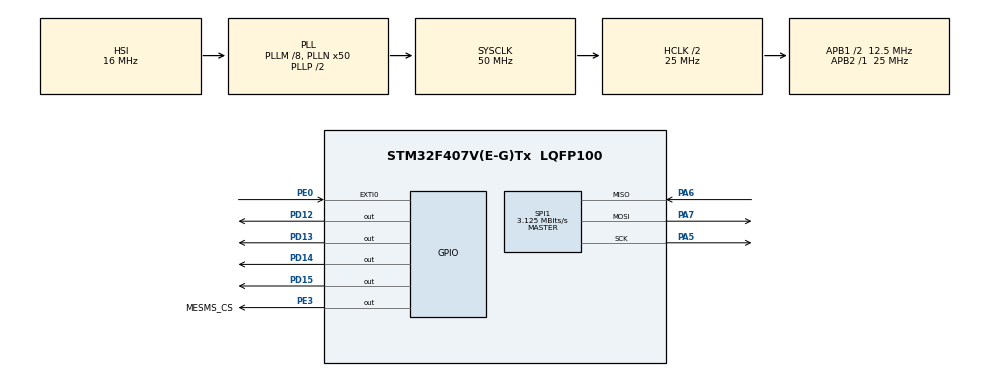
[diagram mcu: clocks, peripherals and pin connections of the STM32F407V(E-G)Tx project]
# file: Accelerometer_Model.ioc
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Mcu.Family=STM32F4
Mcu.Name=STM32F407V(E-G)Tx
Mcu.Package=LQFP100
NVIC.EXTI0_IRQn=true\:0\:0\:false\:false\:true\:true\:true\:true
NVIC.PriorityGroup=NVIC_PRIORITYGROUP_4
PA5.Mode=Full_Duplex_Master
PA5.Signal=SPI1_SCK
PA6.Mode=Full_Duplex_Master
PA6.Signal=SPI1_MISO
PA7.Mode=Full_Duplex_Master
PA7.Signal=SPI1_MOSI
PD12.Signal=GPIO_Output
PD13.Signal=GPIO_Output
PD14.Signal=GPIO_Output
PD15.Signal=GPIO_Output
PE0.Signal=GPXTI0
PE3.GPIO_Label=MESMS_CS
PE3.Signal=GPIO_Output
ProjectManager.HeapSize=0x800
ProjectManager.StackSize=0x800
ProjectManager.TargetToolchain=STM32CubeIDE
RCC.48MHZClocksFreq_Value=25000000
RCC.AHBCLKDivider=RCC_SYSCLK_DIV2
RCC.AHBFreq_Value=25000000
RCC.APB1CLKDivider=RCC_HCLK_DIV2
RCC.APB1Freq_Value=12500000
RCC.APB1TimFreq_Value=25000000
RCC.APB2Freq_Value=25000000
RCC.APB2TimFreq_Value=25000000
RCC.CortexFreq_Value=25000000
RCC.HCLKFreq_Value=25000000
RCC.HSE_VALUE=25000000
RCC.HSI_VALUE=16000000
RCC.LSE_VALUE=32768
RCC.PLLM=8
RCC.PLLN=50
RCC.SYSCLKFreq_VALUE=50000000
RCC.SYSCLKSource=RCC_SYSCLKSOURCE_PLLCLK
RCC.VCOOutputFreq_Value=100000000
SPI1.BaudRatePrescaler=SPI_BAUDRATEPRESCALER_8
SPI1.CalculateBaudRate=3.125 MBits/s
SPI1.Direction=SPI_DIRECTION_2LINES
SPI1.Mode=SPI_MODE_MASTER
SPI1.VirtualType=VM_MASTER
STMicroelectronics.X-CUBE-AI.9.1.0.ActivationBufferSizeList=768
STMicroelectronics.X-CUBE-AI.9.1.0.ActivationBuffers=pool0
STMicroelectronics.X-CUBE-AI.9.1.0.ActivationNames=pool0
STMicroelectronics.X-CUBE-AI.9.1.0.ActivationSizes=AI_ACCELEROMETER_MODEL_DATA_ACTIVATION_1_SIZE
STMicroelectronics.X-CUBE-AI.9.1.0.HeapSize=0x800
STMicroelectronics.X-CUBE-AI.9.1.0.InternalRamActivationBufferMaxSize=AI_ACCELEROMETER_MODEL_DATA_ACTIVATIONS_SIZE
STMicroelectronics.X-CUBE-AI.9.1.0.LatestDirectoryUsed-c38bf62ea20753c83a9b7692821cff98aa24bf481d97bc8439786bb09fe9a0ef=C\:\\Users\\DeLL\\Desktop
STMicroelectronics.X-CUBE-AI.9.1.0.MaximumNumberOfInputLayer=1
STMicroelectronics.X-CUBE-AI.9.1.0.MaximumNumberOfOutputLayer=1
STMicroelectronics.X-CUBE-AI.9.1.0.MaximumSizeOfInputLayer=1
STMicroelectronics.X-CUBE-AI.9.1.0.MaximumSizeOfOutputLayer=1
STMicroelectronics.X-CUBE-AI.9.1.0.ModelActualCompression-c38bf62ea20753c83a9b7692821cff98aa24bf481d97bc8439786bb09fe9a0ef=0.0
STMicroelectronics.X-CUBE-AI.9.1.0.ModelCompression-c38bf62ea20753c83a9b7692821cff98aa24bf481d97bc8439786bb09fe9a0ef=None
STMicroelectronics.X-CUBE-AI.9.1.0.ModelFlashOccupation-c38bf62ea20753c83a9b7692821cff98aa24bf481d97bc8439786bb09fe9a0ef=36372
STMicroelectronics.X-CUBE-AI.9.1.0.ModelHashList=c38bf62ea20753c83a9b7692821cff98aa24bf481d97bc8439786bb09fe9a0ef
STMicroelectronics.X-CUBE-AI.9.1.0.ModelKind-c38bf62ea20753c83a9b7692821cff98aa24bf481d97bc8439786bb09fe9a0ef=TFLITE
STMicroelectronics.X-CUBE-AI.9.1.0.ModelMacc-c38bf62ea20753c83a9b7692821cff98aa24bf481d97bc8439786bb09fe9a0ef=9360
STMicroelectronics.X-CUBE-AI.9.1.0.ModelName-c38bf62ea20753c83a9b7692821cff98aa24bf481d97bc8439786bb09fe9a0ef=accelerometer_model
STMicroelectronics.X-CUBE-AI.9.1.0.ModelNameList=accelerometer_model
STMicroelectronics.X-CUBE-AI.9.1.0.ModelRamOccupation-c38bf62ea20753c83a9b7692821cff98aa24bf481d97bc8439786bb09fe9a0ef=768
STMicroelectronics.X-CUBE-AI.9.1.0.ModelStructureFile-c38bf62ea20753c83a9b7692821cff98aa24bf481d97bc8439786bb09fe9a0ef=C\:\\Users\\DeLL\\Desktop\\Accelerometer.tflite
STMicroelectronics.X-CUBE-AI.9.1.0.ModelType-c38bf62ea20753c83a9b7692821cff98aa24bf481d97bc8439786bb09fe9a0ef=STM32Cube.AI MCU runtime
STMicroelectronics.X-CUBE-AI.9.1.0.ReadyForCodeGeneration=true
STMicroelectronics.X-CUBE-AI.9.1.0.StackSize=0x800
STMicroelectronics.X-CUBE-AI.9.1.0.WorkingBufferStartAddrList=0xFFFFFFFF
STMicroelectronics.X-CUBE-AI.9.1.0.XAaCUBEAaAICcArtificialOoIntelligenceJjCore=true
STMicroelectronics.X-CUBE-AI.9.1.0.copyWeightToRam=false
STMicroelectronics.X-CUBE-AI.9.1.0.copyWeightToRam-c38bf62ea20753c83a9b7692821cff98aa24bf481d97bc8439786bb09fe9a0ef=false
STMicroelectronics.X-CUBE-AI.9.1.0.customLayerConfigEnabled=false
STMicroelectronics.X-CUBE-AI.9.1.0.customLayerConfigEnabled-c38bf62ea20753c83a9b7692821cff98aa24bf481d97bc8439786bb09fe9a0ef=false
STMicroelectronics.X-CUBE-AI.9.1.0.noOnnxIoTranspose=false
STMicroelectronics.X-CUBE-AI.9.1.0.noOnnxIoTranspose-c38bf62ea20753c83a9b7692821cff98aa24bf481d97bc8439786bb09fe9a0ef=false
STMicroelectronics.X-CUBE-AI.9.1.0.useInputAllocation=true
STMicroelectronics.X-CUBE-AI.9.1.0.useInputAllocation-c38bf62ea20753c83a9b7692821cff98aa24bf481d97bc8439786bb09fe9a0ef=true
STMicroelectronics.X-CUBE-AI.9.1.0.useOutputAllocation=true
STMicroelectronics.X-CUBE-AI.9.1.0.useOutputAllocation-c38bf62ea20753c83a9b7692821cff98aa24bf481d97bc8439786bb09fe9a0ef=true
TIM14.Period=65535 -1 
TIM14.Prescaler=80-1
VP_STMicroelectronics.X-CUBE-AI_VS_ArtificialOoIntelligenceJjXAaCUBEAaAI_9.1.0.Mode=ArtificialOoIntelligenceJjXAaCUBEAaAI
VP_TIM14_VS_ClockSourceINT.Mode=Enable_Timer
board=custom

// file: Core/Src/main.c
/* USER CODE BEGIN Header */
/**
  ******************************************************************************
  * @file           : main.c
  * @brief          : Main program body
  ******************************************************************************
  * @attention
  *
  * Copyright (c) 2024 STMicroelectronics.
  * All rights reserved.
  *
  * This software is licensed under terms that can be found in the LICENSE file
  * in the root directory of this software component.
  * If no LICENSE file comes with this software, it is provided AS-IS.
  *
  ******************************************************************************
  */
/* USER CODE END Header */
#include "main.h"

/* USER CODE BEGIN Includes */
#include "ai_datatypes_defines.h"
#include "ai_platform.h"
#include "accelerometer_model.h"
#include "accelerometer_model_data.h"
#include "MY_LIS3DSH.h"
#include <stdio.h>
#include <string.h>
/* USER CODE END Includes */

SPI_HandleTypeDef hspi1;

TIM_HandleTypeDef htim14;

void SystemClock_Config(void);
static void MX_GPIO_Init(void);
static void MX_TIM14_Init(void);
static void MX_SPI1_Init(void);

/* USER CODE BEGIN 0 */
LIS3DSH_DataScaled myData;

/* USER CODE END 0 */

int main(void)
{

  /* USER CODE BEGIN 1 */
	  LIS3DSH_InitTypeDef myAccConfigDef;
	  ai_error ai_err;
	    ai_i32 nbatch;
	    char buf[50];
	    int buf_len = 0;

	    // Chunk of memory used to hold intermediate values for neural network
	    AI_ALIGNED(4) ai_u8 activations[AI_ACCELEROMETER_MODEL_DATA_ACTIVATIONS_SIZE];

	    // Buffers used to store input and output tensors
	    AI_ALIGNED(4) ai_i8 in_data[AI_ACCELEROMETER_MODEL_IN_1_SIZE_BYTES];
	    AI_ALIGNED(4) ai_i8 out_data[AI_ACCELEROMETER_MODEL_OUT_1_SIZE_BYTES];

	    // Pointer to our model
	    ai_handle accelerometer_model = AI_HANDLE_NULL;

	    // Initialize wrapper structs that hold pointers to data and info about the
	    // data (tensor height, width, channels)

	    ai_buffer ai_input[AI_ACCELEROMETER_MODEL_IN_NUM] ;

		  ai_buffer* temp =ai_accelerometer_model_inputs_get(AI_HANDLE_NULL, NULL);
		  for (int i = 0; i < AI_ACCELEROMETER_MODEL_IN_NUM; i++) {

		  	    	      ai_input[i] = temp[i];

		  	    	  }
	    ai_buffer ai_output[AI_ACCELEROMETER_MODEL_OUT_NUM] ;

	    	  ai_buffer* temp2 =ai_accelerometer_model_outputs_get(AI_HANDLE_NULL, NULL);

	    	  for (int i = 0; i < AI_ACCELEROMETER_MODEL_OUT_NUM; i++) {

	    		  	  ai_output[i] = temp2[i];

	    	  	  }

	    // Set working memory and get weights/biases from model
	    ai_network_params ai_params = {
	      AI_ACCELEROMETER_MODEL_DATA_WEIGHTS(ai_accelerometer_model_data_weights_get()),
	      AI_ACCELEROMETER_MODEL_DATA_ACTIVATIONS(activations)
	    };

	    // Set pointers wrapper structs to our data buffers
	    //ai_input[0].n_batches = 1;
	    ai_input[0].data = AI_HANDLE_PTR(in_data);
	    //ai_output[0].n_batches = 1;
	    ai_output[0].data = AI_HANDLE_PTR(out_data);

  /* USER CODE END 1 */

  /* MCU Configuration--------------------------------------------------------*/

  /* Reset of all peripherals, Initializes the Flash interface and the Systick. */
  HAL_Init();

  /* Configure the system clock */
  SystemClock_Config();

  /* Initialize all configured peripherals */
  MX_GPIO_Init();
  MX_TIM14_Init();
  MX_SPI1_Init();
  /* USER CODE BEGIN 2 */
  myAccConfigDef.dataRate         =   LIS3DSH_DATARATE_12_5;
  	myAccConfigDef.fullScale        =   LIS3DSH_FULLSCALE_4;
  	myAccConfigDef.antiAliasingBW   =   LIS3DSH_FILTER_BW_50;
  	myAccConfigDef.enableAxes       =   LIS3DSH_XYZ_ENABLE ;
  	myAccConfigDef.interruptEnable  =   false;

     LIS3DSH_Init(&hspi1, &myAccConfigDef);

     // Create instance of neural network

         ai_err = ai_accelerometer_model_create(&accelerometer_model, AI_ACCELEROMETER_MODEL_DATA_CONFIG);

         if (ai_err.type != AI_ERROR_NONE)

         {

           buf_len = sprintf(buf, "Error: could not create NN instance\r\n");
           while(1);

         }

         // Initialize neural network

         if (!ai_accelerometer_model_init(accelerometer_model, &ai_params))

         {

           buf_len = sprintf(buf, "Error: could not initialize NN\r\n");

           while(1);

         }

  /* USER CODE END 2 */

  /* Infinite loop */
  while (1)
  {

    /* USER CODE BEGIN 3 */
	  /* Vérifiez si de nouvelles données sont prêtes */
	    if (LIS3DSH_PollDRDY(1000) == true)
	    {
	      // Récupérer les données de l'accéléromètre
	      myData = LIS3DSH_GetDataScaled();

	      // Préparer les données d'entrée pour le modèle
	      float input_data[3] = { myData.x, myData.y, myData.z };
	      memcpy(in_data, input_data, sizeof(input_data));

	      // Exécuter une prédiction
	      nbatch = ai_accelerometer_model_run(accelerometer_model, ai_input, ai_output);
	      if (nbatch != 1) {
	        // Gérer l'erreur si le modèle échoue
	        Error_Handler();
	      }

	      // Récupérer la sortie du modèle
	      float* output_data = (float*)ai_output[0].data;

	      // Trouver la classe prédite (l'indice avec la valeur maximale)
	      int predicted_class = 0;
	      float max_value = output_data[0];
	      for (int i = 1; i < AI_ACCELEROMETER_MODEL_OUT_1_SIZE; i++) {
	        if (output_data[i] > max_value) {
	          max_value = output_data[i];
	          predicted_class = i;
	        }
	      }

	      // Commande des LED en fonction de la classe prédite
	      HAL_GPIO_WritePin(GPIOD, GPIO_PIN_12, GPIO_PIN_RESET);
	      HAL_GPIO_WritePin(GPIOD, GPIO_PIN_13, GPIO_PIN_RESET);
	      HAL_GPIO_WritePin(GPIOD, GPIO_PIN_14, GPIO_PIN_RESET);
	      HAL_GPIO_WritePin(GPIOD, GPIO_PIN_15, GPIO_PIN_RESET);

	      switch (predicted_class) {
	        case 0: //  BACKWARD
	          HAL_GPIO_WritePin(GPIOD, GPIO_PIN_13, GPIO_PIN_SET);
	          break;
	        case 1: //  FORWARD
	          HAL_GPIO_WritePin(GPIOD, GPIO_PIN_15, GPIO_PIN_SET);
	          break;
	        case 2: // LEFT
	          HAL_GPIO_WritePin(GPIOD, GPIO_PIN_12, GPIO_PIN_SET);
	          break;
	        case 3: // RIGHT
	          HAL_GPIO_WritePin(GPIOD, GPIO_PIN_14, GPIO_PIN_SET);
	          break;
	        default:
	          // Aucune action
	          break;
	      }
	    }
  }

  /* USER CODE END 3 */
}

void SystemClock_Config(void)
{
  RCC_OscInitTypeDef RCC_OscInitStruct = {0};
  RCC_ClkInitTypeDef RCC_ClkInitStruct = {0};

  /** Configure the main internal regulator output voltage
  */
  __HAL_RCC_PWR_CLK_ENABLE();
  __HAL_PWR_VOLTAGESCALING_CONFIG(PWR_REGULATOR_VOLTAGE_SCALE1);

  /** Initializes the RCC Oscillators according to the specified parameters
  * in the RCC_OscInitTypeDef structure.
  */
  RCC_OscInitStruct.OscillatorType = RCC_OSCILLATORTYPE_HSI;
  RCC_OscInitStruct.HSIState = RCC_HSI_ON;
  RCC_OscInitStruct.HSICalibrationValue = RCC_HSICALIBRATION_DEFAULT;
  RCC_OscInitStruct.PLL.PLLState = RCC_PLL_ON;
  RCC_OscInitStruct.PLL.PLLSource = RCC_PLLSOURCE_HSI;
  RCC_OscInitStruct.PLL.PLLM = 8;
  RCC_OscInitStruct.PLL.PLLN = 50;
  RCC_OscInitStruct.PLL.PLLP = RCC_PLLP_DIV2;
  RCC_OscInitStruct.PLL.PLLQ = 4;
  if (HAL_RCC_OscConfig(&RCC_OscInitStruct) != HAL_OK)
  {
    Error_Handler();
  }

  /** Initializes the CPU, AHB and APB buses clocks
  */
  RCC_ClkInitStruct.ClockType = RCC_CLOCKTYPE_HCLK|RCC_CLOCKTYPE_SYSCLK
                              |RCC_CLOCKTYPE_PCLK1|RCC_CLOCKTYPE_PCLK2;
  RCC_ClkInitStruct.SYSCLKSource = RCC_SYSCLKSOURCE_PLLCLK;
  RCC_ClkInitStruct.AHBCLKDivider = RCC_SYSCLK_DIV2;
  RCC_ClkInitStruct.APB1CLKDivider = RCC_HCLK_DIV2;
  RCC_ClkInitStruct.APB2CLKDivider = RCC_HCLK_DIV1;

  if (HAL_RCC_ClockConfig(&RCC_ClkInitStruct, FLASH_LATENCY_0) != HAL_OK)
  {
    Error_Handler();
  }
}

static void MX_SPI1_Init(void)
{

  /* SPI1 parameter configuration*/
  hspi1.Instance = SPI1;
  hspi1.Init.Mode = SPI_MODE_MASTER;
  hspi1.Init.Direction = SPI_DIRECTION_2LINES;
  hspi1.Init.DataSize = SPI_DATASIZE_8BIT;
  hspi1.Init.CLKPolarity = SPI_POLARITY_LOW;
  hspi1.Init.CLKPhase = SPI_PHASE_1EDGE;
  hspi1.Init.NSS = SPI_NSS_SOFT;
  hspi1.Init.BaudRatePrescaler = SPI_BAUDRATEPRESCALER_8;
  hspi1.Init.FirstBit = SPI_FIRSTBIT_MSB;
  hspi1.Init.TIMode = SPI_TIMODE_DISABLE;
  hspi1.Init.CRCCalculation = SPI_CRCCALCULATION_DISABLE;
  hspi1.Init.CRCPolynomial = 10;
  if (HAL_SPI_Init(&hspi1) != HAL_OK)
  {
    Error_Handler();
  }

}

static void MX_TIM14_Init(void)
{

  htim14.Instance = TIM14;
  htim14.Init.Prescaler = 80-1;
  htim14.Init.CounterMode = TIM_COUNTERMODE_UP;
  htim14.Init.Period = 65535 -1 ;
  htim14.Init.ClockDivision = TIM_CLOCKDIVISION_DIV1;
  htim14.Init.AutoReloadPreload = TIM_AUTORELOAD_PRELOAD_DISABLE;
  if (HAL_TIM_Base_Init(&htim14) != HAL_OK)
  {
    Error_Handler();
  }

}

static void MX_GPIO_Init(void)
{
  GPIO_InitTypeDef GPIO_InitStruct = {0};

  /* GPIO Ports Clock Enable */
  __HAL_RCC_GPIOE_CLK_ENABLE();
  __HAL_RCC_GPIOA_CLK_ENABLE();
  __HAL_RCC_GPIOD_CLK_ENABLE();

  /*Configure GPIO pin Output Level */
  HAL_GPIO_WritePin(MESMS_CS_GPIO_Port, MESMS_CS_Pin, GPIO_PIN_RESET);

  /*Configure GPIO pin Output Level */
  HAL_GPIO_WritePin(GPIOD, GPIO_PIN_12|GPIO_PIN_13|GPIO_PIN_14|GPIO_PIN_15, GPIO_PIN_RESET);

  /*Configure GPIO pin : MESMS_CS_Pin */
  GPIO_InitStruct.Pin = MESMS_CS_Pin;
  GPIO_InitStruct.Mode = GPIO_MODE_OUTPUT_PP;
  GPIO_InitStruct.Pull = GPIO_NOPULL;
  GPIO_InitStruct.Speed = GPIO_SPEED_FREQ_LOW;
  HAL_GPIO_Init(MESMS_CS_GPIO_Port, &GPIO_InitStruct);

  /*Configure GPIO pins : PD12 PD13 PD14 PD15 */
  GPIO_InitStruct.Pin = GPIO_PIN_12|GPIO_PIN_13|GPIO_PIN_14|GPIO_PIN_15;
  GPIO_InitStruct.Mode = GPIO_MODE_OUTPUT_PP;
  GPIO_InitStruct.Pull = GPIO_NOPULL;
  GPIO_InitStruct.Speed = GPIO_SPEED_FREQ_LOW;
  HAL_GPIO_Init(GPIOD, &GPIO_InitStruct);

  /*Configure GPIO pin : PE0 */
  GPIO_InitStruct.Pin = GPIO_PIN_0;
  GPIO_InitStruct.Mode = GPIO_MODE_IT_RISING;
  GPIO_InitStruct.Pull = GPIO_NOPULL;
  HAL_GPIO_Init(GPIOE, &GPIO_InitStruct);

  /* EXTI interrupt init*/
  HAL_NVIC_SetPriority(EXTI0_IRQn, 0, 0);
  HAL_NVIC_EnableIRQ(EXTI0_IRQn);

}

void Error_Handler(void)
{
  __disable_irq();
  while (1)
  {
  }
}
